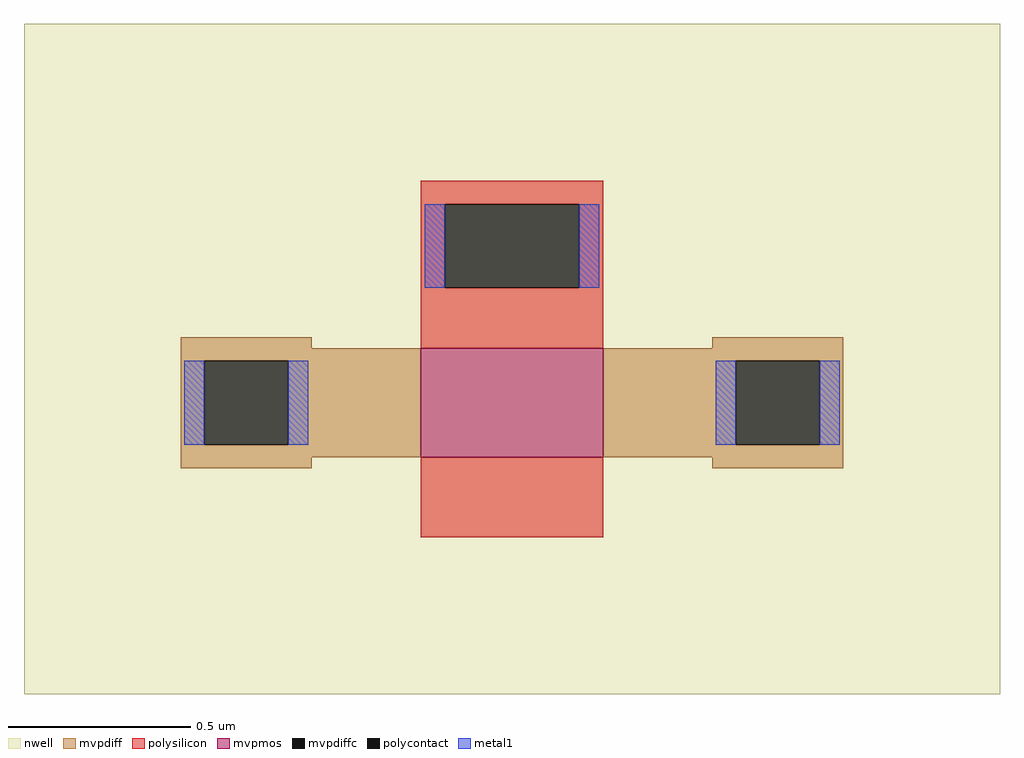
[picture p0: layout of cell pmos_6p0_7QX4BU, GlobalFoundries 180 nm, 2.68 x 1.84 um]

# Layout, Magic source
magic
tech gf180mcuC
magscale 1 10
<< nwell >>
rect -268 -184 268 184
<< mvpmos >>
rect -50 -54 50 6
<< mvpdiff >>
rect -182 6 -110 12
rect 110 6 182 12
rect -182 -1 -50 6
rect -182 -47 -169 -1
rect -123 -47 -50 -1
rect -182 -54 -50 -47
rect 50 -1 182 6
rect 50 -47 123 -1
rect 169 -47 182 -1
rect 50 -54 182 -47
rect -182 -60 -110 -54
rect 110 -60 182 -54
<< mvpdiffc >>
rect -169 -47 -123 -1
rect 123 -47 169 -1
<< polysilicon >>
rect -50 85 50 98
rect -50 39 -37 85
rect 37 39 50 85
rect -50 6 50 39
rect -50 -98 50 -54
<< polycontact >>
rect -37 39 37 85
<< metal1 >>
rect -48 39 -37 85
rect 37 39 48 85
rect -180 -47 -169 -1
rect -123 -47 -112 -1
rect 112 -47 123 -1
rect 169 -47 180 -1
<< properties >>
string gencell pmos_6p0
string library gf180mcu
string parameters w 0.3 l 0.5 m 1 nf 1 diffcov 100 polycov 100 guard 0 glc 0 grc 0 gtc 0 gbc 0 tbcov 100 rlcov 100 topc 1 botc 0 poverlap 0 doverlap 1 lmin 0.5 wmin 0.3 full_metal 0 compatible {pmos_3p3 pmos_6p0}
<< end >>
